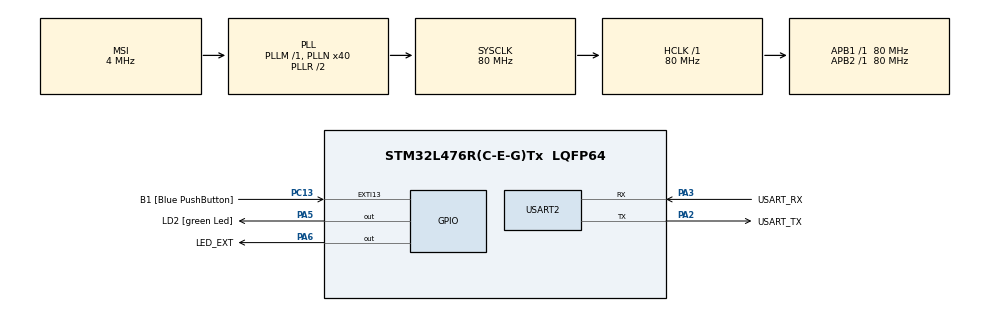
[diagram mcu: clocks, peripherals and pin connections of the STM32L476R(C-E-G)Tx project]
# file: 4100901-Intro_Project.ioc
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Mcu.Family=STM32L4
Mcu.Name=STM32L476R(C-E-G)Tx
Mcu.Package=LQFP64
NVIC.EXTI15_10_IRQn=true\:0\:0\:false\:false\:true\:true\:true\:true
NVIC.PriorityGroup=NVIC_PRIORITYGROUP_4
NVIC.USART2_IRQn=true\:0\:0\:false\:false\:true\:true\:true\:true
PA13\ (JTMS-SWDIO).GPIO_Label=TMS
PA13\ (JTMS-SWDIO).Mode=Serial_Wire
PA13\ (JTMS-SWDIO).Signal=SYS_JTMS-SWDIO
PA14\ (JTCK-SWCLK).GPIO_Label=TCK
PA14\ (JTCK-SWCLK).Mode=Serial_Wire
PA14\ (JTCK-SWCLK).Signal=SYS_JTCK-SWCLK
PA2.GPIO_Label=USART_TX
PA2.GPIO_Mode=GPIO_MODE_AF_PP
PA2.GPIO_PuPd=GPIO_NOPULL
PA2.GPIO_Speed=GPIO_SPEED_FREQ_VERY_HIGH
PA2.Mode=Asynchronous
PA2.Signal=USART2_TX
PA3.GPIO_Label=USART_RX
PA3.GPIO_Mode=GPIO_MODE_AF_PP
PA3.GPIO_PuPd=GPIO_NOPULL
PA3.GPIO_Speed=GPIO_SPEED_FREQ_VERY_HIGH
PA3.Mode=Asynchronous
PA3.Signal=USART2_RX
PA5.GPIO_Label=LD2 [green Led]
PA5.GPIO_ModeDefaultOutputPP=GPIO_MODE_OUTPUT_PP
PA5.GPIO_PuPd=GPIO_NOPULL
PA5.GPIO_Speed=GPIO_SPEED_FREQ_LOW
PA5.Signal=GPIO_Output
PA6.GPIO_Label=LED_EXT
PA6.Signal=GPIO_Output
PB3\ (JTDO-TRACESWO).GPIO_Label=SWO
PB3\ (JTDO-TRACESWO).Signal=SYS_JTDO-SWO
PC13.GPIO_Label=B1 [Blue PushButton]
PC13.GPIO_ModeDefaultEXTI=GPIO_MODE_IT_FALLING
PC13.GPIO_PuPd=GPIO_NOPULL
PC13.Signal=GPXTI13
PC14-OSC32_IN\ (PC14).Mode=LSE-External-Oscillator
PC14-OSC32_IN\ (PC14).Signal=RCC_OSC32_IN
PC15-OSC32_OUT\ (PC15).Mode=LSE-External-Oscillator
PC15-OSC32_OUT\ (PC15).Signal=RCC_OSC32_OUT
PH0-OSC_IN\ (PH0).Signal=RCC_OSC_IN
PH1-OSC_OUT\ (PH1).Signal=RCC_OSC_OUT
ProjectManager.HeapSize=0x200
ProjectManager.StackSize=0x400
ProjectManager.TargetToolchain=CMake
RCC.ADCFreq_Value=16000000
RCC.AHBFreq_Value=80000000
RCC.APB1Freq_Value=80000000
RCC.APB1TimFreq_Value=80000000
RCC.APB2Freq_Value=80000000
RCC.APB2TimFreq_Value=80000000
RCC.CortexFreq_Value=80000000
RCC.HCLKFreq_Value=80000000
RCC.HSE_VALUE=8000000
RCC.HSI_VALUE=16000000
RCC.MSI_VALUE=4000000
RCC.PLLN=40
RCC.PREFETCH_ENABLE=1
RCC.SYSCLKFreq_VALUE=80000000
RCC.SYSCLKSource=RCC_SYSCLKSOURCE_PLLCLK
RCC.USBFreq_Value=16000000
RCC.VCOOutputFreq_Value=160000000
USART2.VirtualMode-Asynchronous=VM_ASYNC
board=NUCLEO-L476RG

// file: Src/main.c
/* USER CODE BEGIN Header */
/**
  ******************************************************************************
  * @file           : main.c
  * @brief          : Main program body
  ******************************************************************************
  * @attention
  *
  * Copyright (c) 2025 STMicroelectronics.
  * All rights reserved.
  *
  * This software is licensed under terms that can be found in the LICENSE file
  * in the root directory of this software component.
  * If no LICENSE file comes with this software, it is provided AS-IS.
  *
  ******************************************************************************
  */
/* USER CODE END Header */
#include "main.h"
#include "usart.h"
#include "gpio.h"

/* USER CODE BEGIN Includes */
#include <stdio.h> // Para usar sprintf
#include <string.h> // Para usar strlen
/* USER CODE END Includes */

/* USER CODE BEGIN PV */
// Variables para UART
uint8_t rx_data; // Buffer para recibir 1 byte por UART
char tx_buffer[100]; // Buffer para transmitir mensajes por UART // MODIFICADO: Aumentado tamaño por si acaso

// Variables para el botón y LED externo
volatile uint8_t button_flag = 0; // Flag para indicar que el botón fue presionado (volatile porque se modifica en interrupción)
volatile uint32_t led_ext_off_time = 0; // Momento en que se debe apagar el LED externo

/* USER CODE END PV */

void SystemClock_Config(void);

/* USER CODE BEGIN 0 */
// Callback que se ejecuta cuando se completa la recepción de 1 byte por UART2
void HAL_UART_RxCpltCallback(UART_HandleTypeDef *huart)
{
  if (huart->Instance == USART2)
  {
    // MODIFICADO: Cambia la letra que devuelve la placa.
    // En lugar de hacer eco del mismo caracter, enviamos el siguiente caracter en la tabla ASCII.
    // Por ejemplo, si recibe una 'a', devolverá una 'b'.
    uint8_t tx_char = rx_data + 1;
    HAL_UART_Transmit(&huart2, &tx_char, 1, 10);

    // Volvemos a habilitar la interrupción de recepción UART para el próximo byte
    HAL_UART_Receive_IT(&huart2, &rx_data, -1);
  }
}
/* USER CODE END 0 */

int main(void)
{

  /* MCU Configuration--------------------------------------------------------*/

  /* Reset of all peripherals, Initializes the Flash interface and the Systick. */
  HAL_Init();

  /* Configure the system clock */
  SystemClock_Config();

  /* Initialize all configured peripherals */
  MX_GPIO_Init();
  MX_USART2_UART_Init();
  /* USER CODE BEGIN 2 */
  // Habilitar la interrupción de recepción UART
  HAL_UART_Receive_IT(&huart2, &rx_data, 1);

  // Mensaje de bienvenida por UART
  char *welcome_msg = "Sistema de Control Modificado - Listo\r\n";
  HAL_UART_Transmit(&huart2, (uint8_t*)welcome_msg, strlen(welcome_msg), 100);

HAL_GPIO_WritePin(LED_EXT_GPIO_Port, LED_EXT_Pin, GPIO_PIN_SET); // <-- (Esta es la línea que ya borraste)
  /* USER CODE END 2 */

  /* Infinite loop */
  /* USER CODE BEGIN WHILE */
  while (1)
  {
    // ---- Heartbeat LED ----
    static uint32_t last_heartbeat_time = 0;

    // MODIFICADO: Haz que el LED LD2 parpadee más rápido o más lento.
    // Cambia el valor '100' para ajustar la velocidad.
    // Valor más bajo = parpadeo más rápido (ej: 100 -> 10 veces por segundo)
    // Valor más alto = parpadeo más lento (ej: 1000 -> 1 vez por segundo)
    if (HAL_GetTick() - last_heartbeat_time >= 1000) // Parpadeo más rápido (antes 500)
    {
      HAL_GPIO_TogglePin(LD2_GPIO_Port, LD2_Pin); // Cambia el estado del LED LD2
      last_heartbeat_time = HAL_GetTick();
    }

    // ---- Procesamiento del Botón ----
    if (button_flag == 1)
    {
      // 1. Encender LED Externo
      HAL_GPIO_WritePin(LED_EXT_GPIO_Port, LED_EXT_Pin, GPIO_PIN_SET); // Enciende LED_EXT

      // 2. MODIFICADO: Cambia el tiempo que el LED externo permanece encendido.
      // Se cambia de 3000ms (3 segundos) a 5000ms (5 segundos).
      led_ext_off_time = HAL_GetTick() + 2000;

      // 3. MODIFICADO: Envía un mensaje diferente por UART cuando se presiona el botón.
      sprintf(tx_buffer, "Hola profe, como esta\r\n");
      HAL_UART_Transmit(&huart2, (uint8_t*)tx_buffer, strlen(tx_buffer), 100);

      // 4. Limpiar el flag
      button_flag = 0;
    }

    // ---- Control del Apagado del LED Externo ----
    if (led_ext_off_time != 0 && HAL_GetTick() >= led_ext_off_time)
    {
      // 1. Apagar el LED
      HAL_GPIO_WritePin(LED_EXT_GPIO_Port, LED_EXT_Pin, GPIO_PIN_RESET); // Apaga LED_EXT

      // 2. Enviar mensaje por UART (opcional)
      sprintf(tx_buffer, "<-- LED externo apagado por temporizador.\r\n");
      HAL_UART_Transmit(&huart2, (uint8_t*)tx_buffer, strlen(tx_buffer), 100);

      // 3. Resetear el tiempo de apagado a 0
      led_ext_off_time = 0;
    }
    /* USER CODE END WHILE */

  }
}

void SystemClock_Config(void)
{
  RCC_OscInitTypeDef RCC_OscInitStruct = {0};
  RCC_ClkInitTypeDef RCC_ClkInitStruct = {0};

  /** Configure the main internal regulator output voltage
  */
  if (HAL_PWREx_ControlVoltageScaling(PWR_REGULATOR_VOLTAGE_SCALE1) != HAL_OK)
  {
    Error_Handler();
  }

  /** Configure LSE Drive Capability
  */
  HAL_PWR_EnableBkUpAccess();
  __HAL_RCC_LSEDRIVE_CONFIG(RCC_LSEDRIVE_LOW);

  /** Initializes the RCC Oscillators according to the specified parameters
  * in the RCC_OscInitTypeDef structure.
  */
  RCC_OscInitStruct.OscillatorType = RCC_OSCILLATORTYPE_LSE|RCC_OSCILLATORTYPE_MSI;
  RCC_OscInitStruct.LSEState = RCC_LSE_ON;
  RCC_OscInitStruct.MSIState = RCC_MSI_ON;
  RCC_OscInitStruct.MSICalibrationValue = 0;
  RCC_OscInitStruct.MSIClockRange = RCC_MSIRANGE_6;
  RCC_OscInitStruct.PLL.PLLState = RCC_PLL_ON;
  RCC_OscInitStruct.PLL.PLLSource = RCC_PLLSOURCE_MSI;
  RCC_OscInitStruct.PLL.PLLM = 1;
  RCC_OscInitStruct.PLL.PLLN = 40;
  RCC_OscInitStruct.PLL.PLLP = RCC_PLLP_DIV7;
  RCC_OscInitStruct.PLL.PLLQ = RCC_PLLQ_DIV2;
  RCC_OscInitStruct.PLL.PLLR = RCC_PLLR_DIV2;
  if (HAL_RCC_OscConfig(&RCC_OscInitStruct) != HAL_OK)
  {
    Error_Handler();
  }

  /** Initializes the CPU, AHB and APB buses clocks
  */
  RCC_ClkInitStruct.ClockType = RCC_CLOCKTYPE_HCLK|RCC_CLOCKTYPE_SYSCLK
                              |RCC_CLOCKTYPE_PCLK1|RCC_CLOCKTYPE_PCLK2;
  RCC_ClkInitStruct.SYSCLKSource = RCC_SYSCLKSOURCE_PLLCLK;
  RCC_ClkInitStruct.AHBCLKDivider = RCC_SYSCLK_DIV1;
  RCC_ClkInitStruct.APB1CLKDivider = RCC_HCLK_DIV1;
  RCC_ClkInitStruct.APB2CLKDivider = RCC_HCLK_DIV1;

  if (HAL_RCC_ClockConfig(&RCC_ClkInitStruct, FLASH_LATENCY_4) != HAL_OK)
  {
    Error_Handler();
  }

  /** Enable MSI Auto calibration
  */
  HAL_RCCEx_EnableMSIPLLMode();
}

/* USER CODE BEGIN 4 */
void HAL_GPIO_EXTI_Callback(uint16_t GPIO_Pin)
{
  static uint32_t last_press_time = 0;
  uint32_t current_time = HAL_GetTick();

  if (GPIO_Pin == B1_Pin)
  {
    if (current_time - last_press_time > 200)
    {
      button_flag = 1;
      last_press_time = current_time;
    }
  }
}
/* USER CODE END 4 */

void Error_Handler(void)
{
  __disable_irq();
  while (1)
  {
  }
}
